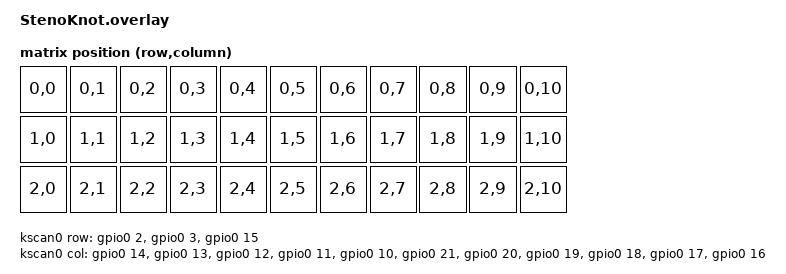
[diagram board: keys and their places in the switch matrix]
#include <dt-bindings/zmk/matrix_transform.h>

/ {
    physical_layout0: physical_layout_0 {
        compatible = "zmk,physical-layout";
        display-name = "Default Layout";
        kscan = <&kscan0>;
        transform = <&default_transform>;
    };
};

/ {
    chosen {
        zmk,physical-layout = &physical_layout0;
    };

    kscan0: kscan0 {
        compatible = "zmk,kscan-gpio-matrix";
        diode-direction = "col2row";
        wakeup-source;

        col-gpios
            = <&gpio0 14 GPIO_ACTIVE_HIGH>
            , <&gpio0 13 GPIO_ACTIVE_HIGH>
            , <&gpio0 12 GPIO_ACTIVE_HIGH>
            , <&gpio0 11 GPIO_ACTIVE_HIGH>
            , <&gpio0 10 GPIO_ACTIVE_HIGH>
            , <&gpio0 21 GPIO_ACTIVE_HIGH>
            , <&gpio0 20 GPIO_ACTIVE_HIGH>
            , <&gpio0 19 GPIO_ACTIVE_HIGH>
            , <&gpio0 18 GPIO_ACTIVE_HIGH>
            , <&gpio0 17 GPIO_ACTIVE_HIGH>
            , <&gpio0 16 GPIO_ACTIVE_HIGH>
            ;

        row-gpios
            = <&gpio0 2 (GPIO_ACTIVE_HIGH | GPIO_PULL_DOWN)>
            , <&gpio0 3 (GPIO_ACTIVE_HIGH | GPIO_PULL_DOWN)>
            , <&gpio0 15 (GPIO_ACTIVE_HIGH | GPIO_PULL_DOWN)>
            ;
    };

    default_transform: matrix_transform0 {
        compatible = "zmk,matrix-transform";
        columns = <18>;
        rows = <5>;
        map = <
            RC(0,0) RC(0,1) RC(0,2) RC(0,3) RC(0,4) RC(0,5) RC(0,6) RC(0,7) RC(0,8) RC(0,9) RC(0,10)
            RC(1,0) RC(1,1) RC(1,2) RC(1,3) RC(1,4) RC(1,5) RC(1,6) RC(1,7) RC(1,8) RC(1,9) RC(1,10)
            RC(2,0) RC(2,1) RC(2,2) RC(2,3) RC(2,4) RC(2,5) RC(2,6) RC(2,7) RC(2,8) RC(2,9) RC(2,10)
        >;
    };
};

// USB HID configuration at root
/ {
    hid {
        compatible = "zmk,hid";
        zmk,hid-usb = <>;
        zmk,hid-keyboard = <>;
        zmk,hid-mouse = <>;
    };
};



